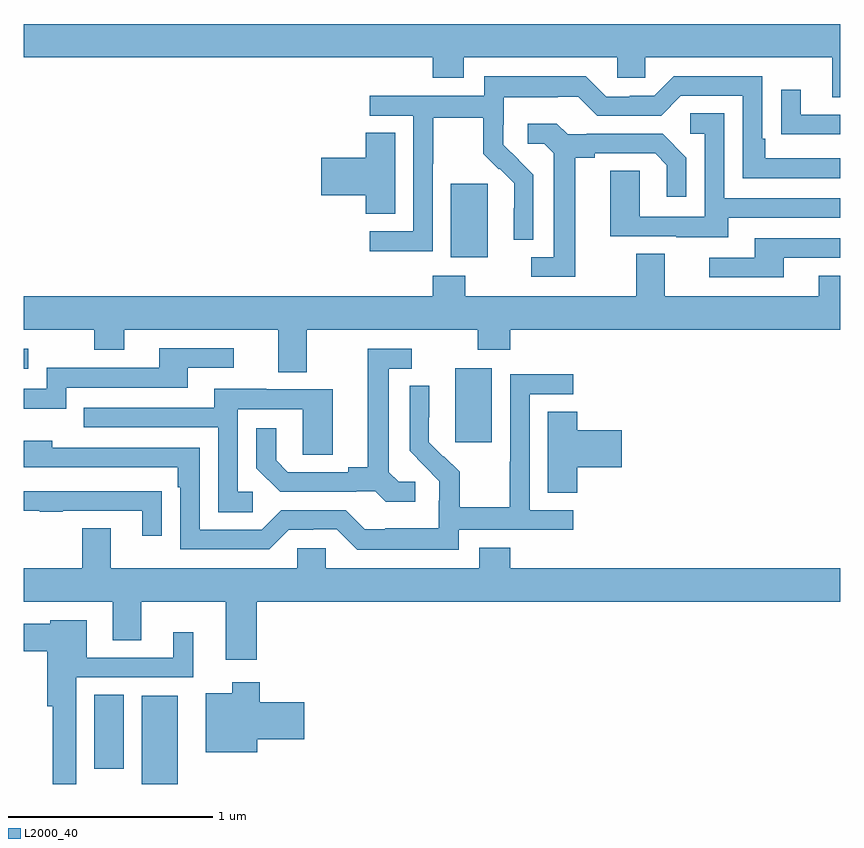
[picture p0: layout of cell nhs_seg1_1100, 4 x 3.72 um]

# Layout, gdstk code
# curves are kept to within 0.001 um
import gdstk
lib = gdstk.Library(unit=1e-6, precision=1e-09)
def R(c, l, rs):  # rectangles x0, y0, x1, y1
    for r in rs: c.add(gdstk.rectangle(r[:2], r[2:], *l))
def P(c, l, *ps):  # polygons
    for p in ps: c.add(gdstk.Polygon(p, *l))
L2000_40 = (2000, 40)

nhs_seg1_1100 = lib.new_cell('nhs_seg1_1100')
R(nhs_seg1_1100, L2000_40, [(171.578,524.199,171.754,524.632), (171.347,524.274,171.49,524.636), (173.114,525.873,173.293,526.234), (171,526.233,171.022,526.329), (173.093,526.778,173.272,527.139)])
P(nhs_seg1_1100, L2000_40, [(175,527.92),(171,527.92),(171,527.756),(173.003,527.756),(173.003,527.657),(173.155,527.657),(173.155,527.756),(173.907,527.756),(173.907,527.658),(174.045,527.658),(174.045,527.756),(174.959,527.756),(174.959,527.562),(175,527.562)],
  [(173.004,527.236),(173.007,527.236),(173.007,527.46),(173.251,527.46),(173.251,527.285),(173.328,527.208),(173.331,527.211),(173.402,527.141),(173.402,527.018),(173.4,527.018),(173.4,526.864),(173.496,526.864),(173.496,527.182),(173.35,527.33),(173.35,527.427),(173.352,527.427),(173.352,527.561),(173.615,527.561),(173.615,527.565),(173.715,527.565),(173.808,527.472),(174.123,527.472),(174.219,527.568),(174.522,527.568),(174.522,527.166),(175,527.166),(175,527.262),(174.631,527.262),(174.631,527.359),(174.618,527.359),(174.618,527.664),(174.183,527.664),(174.087,527.568),(173.969,527.568),(173.969,527.565),(173.853,527.565),(173.753,527.665),(173.256,527.665),(173.256,527.568),(172.695,527.568),(172.695,527.472),(172.908,527.472),(172.908,526.905),(172.695,526.905),(172.695,526.807),(173.004,526.807)],
  [(175,527.475),(174.805,527.475),(174.805,527.599),(174.709,527.599),(174.709,527.38),(174.811,527.38),(174.811,527.379),(175,527.379)],
  [(174.451,526.971),(175,526.971),(175,527.067),(174.432,527.067),(174.432,527.483),(174.264,527.483),(174.264,527.382),(174.336,527.382),(174.336,526.977),(174.018,526.977),(174.018,527.201),(173.873,527.201),(173.873,526.881),(174.197,526.881),(174.197,526.877),(174.451,526.877)],
  [(173.701,527.264),(173.797,527.264),(173.797,527.286),(174.092,527.286),(174.149,527.229),(174.149,527.073),(174.246,527.073),(174.246,527.266),(174.13,527.382),(173.758,527.382),(173.758,527.379),(173.664,527.379),(173.612,527.431),(173.469,527.431),(173.469,527.334),(173.55,527.334),(173.597,527.287),(173.597,526.779),(173.487,526.779),(173.487,526.683),(173.701,526.683)],
  [(172.819,527.387),(172.676,527.387),(172.676,527.264),(172.458,527.264),(172.458,527.081),(172.676,527.081),(172.676,526.99),(172.819,526.99)],
  [(174.721,526.776),(175,526.776),(175,526.872),(174.581,526.872),(174.581,526.776),(174.357,526.776),(174.357,526.68),(174.721,526.68)],
  [(172.387,526.424),(173.224,526.424),(173.224,526.325),(173.384,526.325),(173.384,526.424),(175,526.424),(175,526.687),(174.893,526.687),(174.893,526.588),(174.139,526.588),(174.139,526.796),(173.999,526.796),(173.999,526.588),(173.163,526.588),(173.163,526.687),(173.003,526.687),(173.003,526.588),(171,526.588),(171,526.424),(171.346,526.424),(171.346,526.325),(171.493,526.325),(171.493,526.424),(172.247,526.424),(172.247,526.216),(172.387,526.216)],
  [(171.21,526.14),(171.805,526.14),(171.805,526.236),(172.03,526.236),(172.03,526.332),(171.665,526.332),(171.665,526.236),(171.114,526.236),(171.114,526.134),(171,526.134),(171,526.037),(171.21,526.037)],
  [(172.918,525.678),(172.836,525.678),(172.789,525.725),(172.789,526.233),(172.9,526.233),(172.9,526.329),(172.685,526.329),(172.685,525.749),(172.589,525.749),(172.589,525.726),(172.294,525.726),(172.237,525.783),(172.237,525.94),(172.14,525.94),(172.14,525.746),(172.256,525.63),(172.628,525.63),(172.628,525.633),(172.722,525.633),(172.774,525.581),(172.918,525.581)],
  [(173.13,525.444),(173.692,525.444),(173.692,525.54),(173.478,525.54),(173.478,526.107),(173.692,526.107),(173.692,526.206),(173.382,526.206),(173.382,525.776),(173.38,525.776),(173.38,525.553),(173.135,525.553),(173.135,525.727),(173.058,525.804),(173.055,525.801),(172.985,525.872),(172.986,526.148),(172.89,526.148),(172.89,525.83),(173.036,525.682),(173.036,525.585),(173.034,525.585),(173.034,525.451),(172.771,525.451),(172.771,525.447),(172.671,525.447),(172.578,525.54),(172.263,525.54),(172.167,525.444),(171.864,525.444),(171.864,525.846),(171.14,525.846),(171.14,525.88),(171,525.88),(171,525.75),(171.755,525.75),(171.755,525.653),(171.768,525.653),(171.768,525.348),(172.203,525.348),(172.299,525.444),(172.418,525.444),(172.418,525.447),(172.533,525.447),(172.633,525.347),(173.13,525.347)],
  [(172.123,525.63),(172.05,525.63),(172.05,526.035),(172.368,526.035),(172.368,525.811),(172.513,525.811),(172.513,526.131),(172.189,526.131),(172.189,526.135),(171.935,526.135),(171.935,526.041),(171.295,526.041),(171.295,525.945),(171.954,525.945),(171.954,525.529),(172.123,525.529)],
  [(173.711,525.749),(173.929,525.749),(173.929,525.932),(173.711,525.932),(173.711,526.022),(173.567,526.022),(173.567,525.625),(173.711,525.625)],
  [(171.677,525.632),(171.575,525.632),(171.575,525.633),(171,525.633),(171,525.537),(171.079,525.537),(171.079,525.532),(171.191,525.532),(171.191,525.537),(171.581,525.537),(171.581,525.414),(171.677,525.414)],
  [(175,525.256),(173.384,525.256),(173.384,525.355),(173.231,525.355),(173.231,525.256),(172.479,525.256),(172.479,525.354),(172.341,525.354),(172.341,525.256),(171.427,525.256),(171.427,525.451),(171.287,525.451),(171.287,525.256),(171,525.256),(171,525.092),(171.437,525.092),(171.437,524.902),(171.577,524.902),(171.577,525.092),(171.989,525.092),(171.989,524.808),(172.142,524.808),(172.142,525.092),(175,525.092)],
  [(171.258,524.721),(171.832,524.721),(171.832,524.941),(171.734,524.941),(171.734,524.817),(171.31,524.817),(171.31,525.001),(171.132,525.001),(171.132,524.983),(171,524.983),(171,524.849),(171.116,524.849),(171.116,524.579),(171.142,524.579),(171.142,524.199),(171.258,524.199)],
  [(172.144,524.417),(172.375,524.417),(172.375,524.6),(172.157,524.6),(172.157,524.698),(172.022,524.698),(172.022,524.644),(171.893,524.644),(171.893,524.354),(172.144,524.354)])

lib.write_gds('nhs_seg1_1100.gds')
